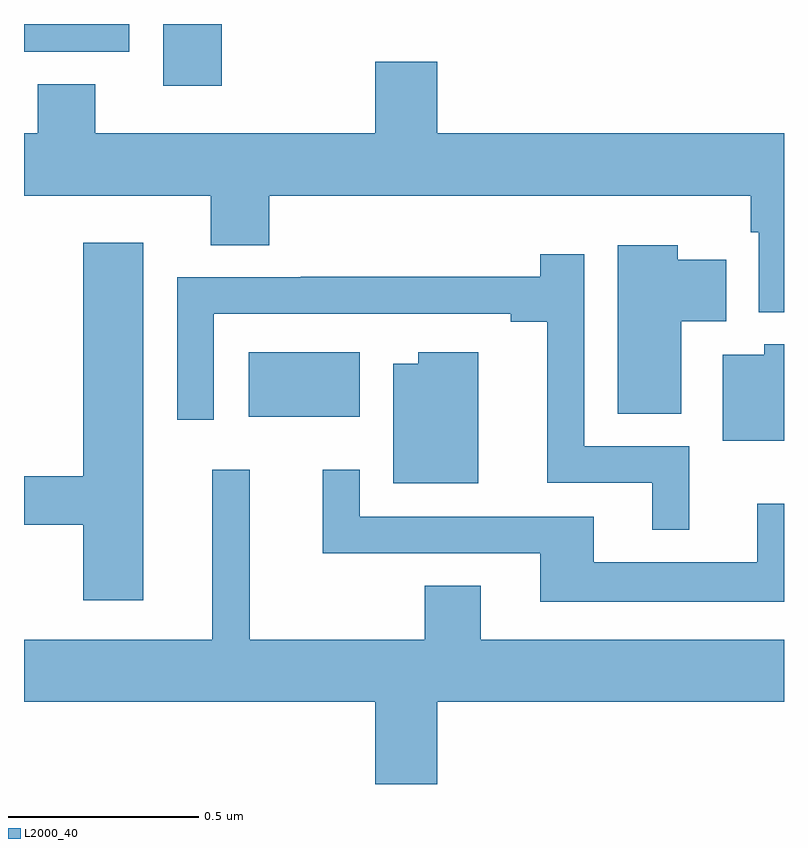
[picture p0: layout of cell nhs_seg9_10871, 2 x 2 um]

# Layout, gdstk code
import gdstk
lib = gdstk.Library(unit=1e-6, precision=1e-09)
def R(c, l, rs):  # rectangles x0, y0, x1, y1
    for r in rs: c.add(gdstk.rectangle(r[:2], r[2:], *l))
def P(c, l, *ps):  # polygons
    for p in ps: c.add(gdstk.Polygon(p, *l))
L2000_40 = (2000, 40)

nhs_seg9_10871 = lib.new_cell('nhs_seg9_10871')
R(nhs_seg9_10871, L2000_40, [(248.591,1234.466,248.884,1234.636), (248.366,1235.337,248.52,1235.5), (248,1235.427,248.277,1235.5)])
P(nhs_seg9_10871, L2000_40, [(250,1235.212),(249.088,1235.212),(249.088,1235.401),(248.924,1235.401),(248.924,1235.212),(248.188,1235.212),(248.188,1235.342),(248.036,1235.342),(248.036,1235.212),(248,1235.212),(248,1235.048),(248.492,1235.048),(248.492,1234.918),(248.645,1234.918),(248.645,1235.048),(249.913,1235.048),(249.913,1234.952),(249.933,1234.952),(249.933,1234.742),(250,1234.742)],
  [(248.314,1234.924),(248.156,1234.924),(248.156,1234.31),(248,1234.31),(248,1234.182),(248.156,1234.182),(248.156,1233.984),(248.314,1233.984)],
  [(249.73,1234.718),(249.848,1234.718),(249.848,1234.879),(249.721,1234.879),(249.721,1234.918),(249.563,1234.918),(249.563,1234.474),(249.73,1234.474)],
  [(249.751,1234.389),(249.474,1234.389),(249.474,1234.894),(249.358,1234.894),(249.358,1234.835),(248.728,1234.835),(248.728,1234.833),(248.403,1234.833),(248.403,1234.458),(248.499,1234.458),(248.499,1234.737),(249.281,1234.737),(249.281,1234.717),(249.377,1234.717),(249.377,1234.293),(249.653,1234.293),(249.653,1234.169),(249.751,1234.169)],
  [(250,1234.657),(249.948,1234.657),(249.948,1234.63),(249.839,1234.63),(249.839,1234.403),(250,1234.403)],
  [(249.196,1234.636),(249.038,1234.636),(249.038,1234.606),(248.972,1234.606),(248.972,1234.292),(249.196,1234.292)],
  [(249.088,1233.716),(250,1233.716),(250,1233.88),(249.202,1233.88),(249.202,1234.022),(249.055,1234.022),(249.055,1233.88),(248.594,1233.88),(248.594,1234.327),(248.495,1234.327),(248.495,1233.88),(248,1233.88),(248,1233.716),(248.924,1233.716),(248.924,1233.5),(249.088,1233.5)],
  [(250,1234.237),(249.929,1234.237),(249.929,1234.084),(249.499,1234.084),(249.499,1234.203),(248.883,1234.203),(248.883,1234.327),(248.786,1234.327),(248.786,1234.107),(249.359,1234.107),(249.359,1233.98),(250,1233.98)])

lib.write_gds('nhs_seg9_10871.gds')
